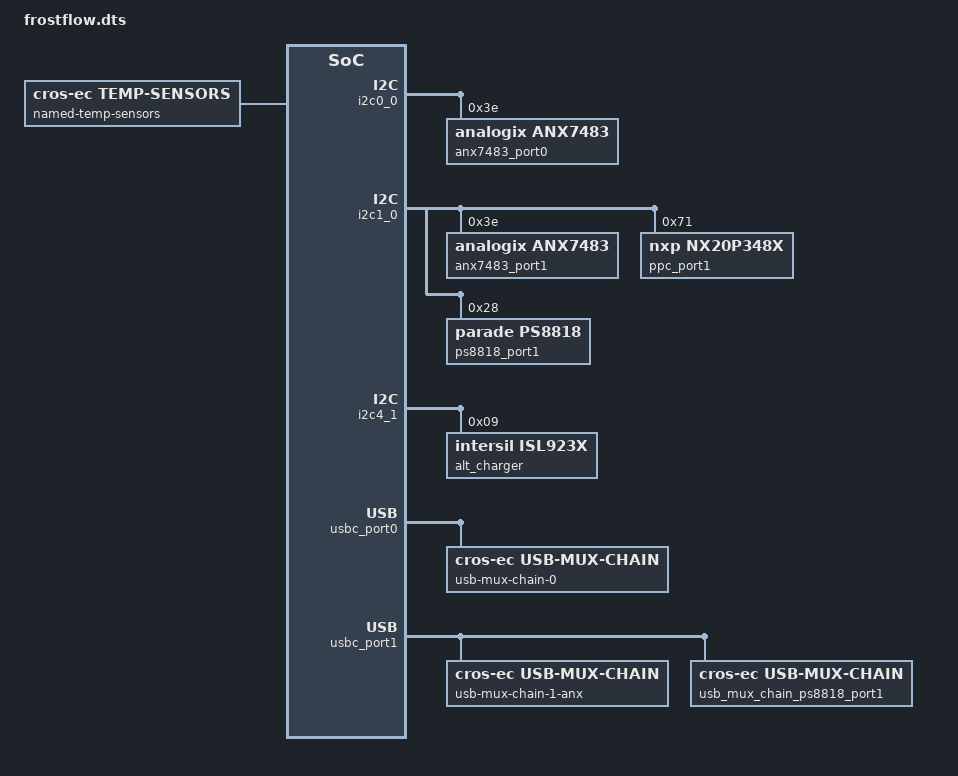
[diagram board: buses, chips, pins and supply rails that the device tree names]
/* Copyright 2022 The ChromiumOS Authors
 * Use of this source code is governed by a BSD-style license that can be
 * found in the LICENSE file.
 */

#include <dt-bindings/usbc_mux.h>

#include "i2c_common.dtsi"

/ {
	named-gpios {
		/* Frostflow-specific GPIO customizations */
	};

	named-temp-sensors {
		compatible = "cros-ec,temp-sensors";
		soc-pct2075 {
			temp_host_high = <100>;
			temp_host_halt = <105>;
			temp_host_release_high = <80>;
			temp_host_release_halt = <80>;
			temp_fan_off = <35>;
			temp_fan_max = <70>;
			power-good-pin = <&gpio_pg_pwr_s5>;
			sensor = <&soc_pct2075>;
		};
		amb-pct2075 {
			power-good-pin = <&gpio_pg_pwr_s5>;
			sensor = <&amb_pct2075>;
		};
	};

	/*
	 * Note this is expected to vary per-board, so we keep it in the board
	 * dts files.
	 */
	frostflow-fw-config {
		compatible = "cros-ec,cbi-fw-config";

		form-factor {
			enum-name = "FW_FORM_FACTOR";
			start = <0>;
			size = <1>;

			ff-clamshell {
				compatible = "cros-ec,cbi-fw-config-value";
				enum-name = "FW_FF_CLAMSHELL";
				value = <0>;
			};
			ff-convertible {
				compatible = "cros-ec,cbi-fw-config-value";
				enum-name = "FW_FF_CONVERTIBLE";
				value = <1>;
				default;
			};
		};
		io-db {
			enum-name = "FW_IO_DB";
			start = <6>;
			size = <2>;

			io-db-ps8811-ps8818 {
				compatible = "cros-ec,cbi-fw-config-value";
				enum-name = "FW_IO_DB_PS8811_PS8818";
				value = <0>;
			};
		};

		/*
		 * FW_CONFIG field to enable fan or not.
		 */
		fan {
			enum-name = "FW_FAN";
			start = <10>;
			size = <1>;

			no-fan {
				compatible = "cros-ec,cbi-fw-config-value";
				enum-name = "FW_FAN_NOT_PRESENT";
				value = <0>;
			};
			fan-present {
				compatible = "cros-ec,cbi-fw-config-value";
				enum-name = "FW_FAN_PRESENT";
				value = <1>;
				/*
				 * Set as default so that unprovisioned
				 * configs will run the fan regardless.
				 */
				default;
			};
		};

		charger-option {
			enum-name = "FW_CHARGER";
			start = <11>;
			size = <2>;

			charger-option-isl9241 {
				compatible = "cros-ec,cbi-fw-config-value";
				enum-name = "FW_CHARGER_ISL9241";
				value = <0>;
				default;
			};
		};
	};

	/* Rotation matrices for motion sensors. */
	motionsense-rotation-ref {
		compatible = "cros-ec,motionsense-rotation-ref";
		lid_rot_ref: lid-rotation-ref {
			mat33 = <1 0 0
				 0 1 0
				 0 0 1>;
		};

		base_rot_ref: base-rotation-ref {
			mat33 = <0 1 0
				 1 0 0
				 0 0 (-1)>;
		};
	};

	ppc_port0: aoz1380 {
		compatible = "aoz,aoz1380";
		status = "okay";
	};
};

&i2c0_0 {
	anx7483_port0: anx7483@3e {
		compatible = "analogix,anx7483";
		reg = <0x3e>;
		board-set = "board_anx7483_c0_mux_set";
	};
};

&i2c1_0 {
	anx7483_port1: anx7483@3e {
		compatible = "analogix,anx7483";
		reg = <0x3e>;
		board-set = "board_anx7483_c1_mux_set";
	};
	ppc_port1: nx20p348x@71 {
		compatible = "nxp,nx20p348x";
		status = "okay";
		reg = <0x71>;
	};
	ps8818_port1: ps8818@28 {
		compatible = "parade,ps8818";
		reg = <0x28>;
		flags = <(USB_MUX_FLAG_RESETS_IN_G3)>;
		board-set = "board_c1_ps8818_mux_set";
	};
};

&i2c4_1 {
	alt_charger: isl9538@9 {
		compatible = "intersil,isl923x";
		status = "okay";
		reg = <0x9>;
	};
};

&usbc_port0 {
	chg_alt = <&alt_charger>;
	ppc = <&ppc_port0>;
	usb-mux-chain-0 {
		compatible = "cros-ec,usb-mux-chain";
		usb-muxes = <&amd_fp6_port0 &anx7483_port0>;
	};
};

&usbc_port1 {
	ppc = <&ppc_port1>;
	usb-mux-chain-1-anx {
		compatible = "cros-ec,usb-mux-chain";
		usb-muxes = <&amd_fp6_port1 &anx7483_port1>;
	};
	usb_mux_chain_ps8818_port1: usb-mux-chain-1-ps {
		compatible = "cros-ec,usb-mux-chain";
		usb-muxes = <&amd_fp6_port1 &ps8818_port1>;
		alternative-chain;
	};
};
